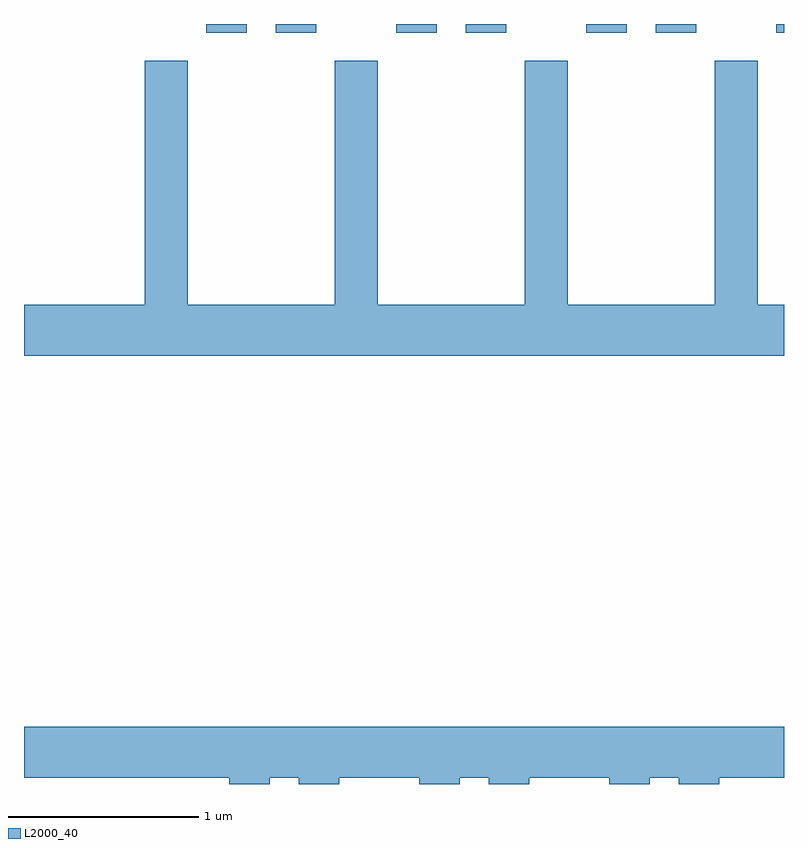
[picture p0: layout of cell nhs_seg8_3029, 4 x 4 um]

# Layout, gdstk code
import gdstk
lib = gdstk.Library(unit=1e-6, precision=1e-09)
def R(c, l, rs):  # rectangles x0, y0, x1, y1
    for r in rs: c.add(gdstk.rectangle(r[:2], r[2:], *l))
def P(c, l, *ps):  # polygons
    for p in ps: c.add(gdstk.Polygon(p, *l))
L2000_40 = (2000, 40)

nhs_seg8_3029 = lib.new_cell('nhs_seg8_3029')
R(nhs_seg8_3029, L2000_40, [(276.571,1880.296,276.784,1880.342), (276.936,1880.296,277.149,1880.342), (277.571,1880.296,277.784,1880.342), (277.936,1880.296,278.149,1880.342), (278.571,1880.296,278.784,1880.342), (278.936,1880.296,279.149,1880.342), (279.571,1880.296,279.611,1880.342)])
P(nhs_seg8_3029, L2000_40, [(279.611,1878.864),(279.474,1878.864),(279.474,1880.149),(279.246,1880.149),(279.246,1878.864),(278.474,1878.864),(278.474,1880.149),(278.246,1880.149),(278.246,1878.864),(277.474,1878.864),(277.474,1880.149),(277.246,1880.149),(277.246,1878.864),(276.474,1878.864),(276.474,1880.149),(276.246,1880.149),(276.246,1878.864),(275.611,1878.864),(275.611,1878.596),(279.611,1878.596)],
  [(276.904,1876.376),(277.056,1876.376),(277.056,1876.342),(277.269,1876.342),(277.269,1876.376),(277.691,1876.376),(277.691,1876.342),(277.904,1876.342),(277.904,1876.376),(278.056,1876.376),(278.056,1876.342),(278.269,1876.342),(278.269,1876.376),(278.691,1876.376),(278.691,1876.342),(278.904,1876.342),(278.904,1876.376),(279.056,1876.376),(279.056,1876.342),(279.269,1876.342),(279.269,1876.376),(279.611,1876.376),(279.611,1876.644),(275.611,1876.644),(275.611,1876.376),(276.691,1876.376),(276.691,1876.342),(276.904,1876.342)])

lib.write_gds('nhs_seg8_3029.gds')
